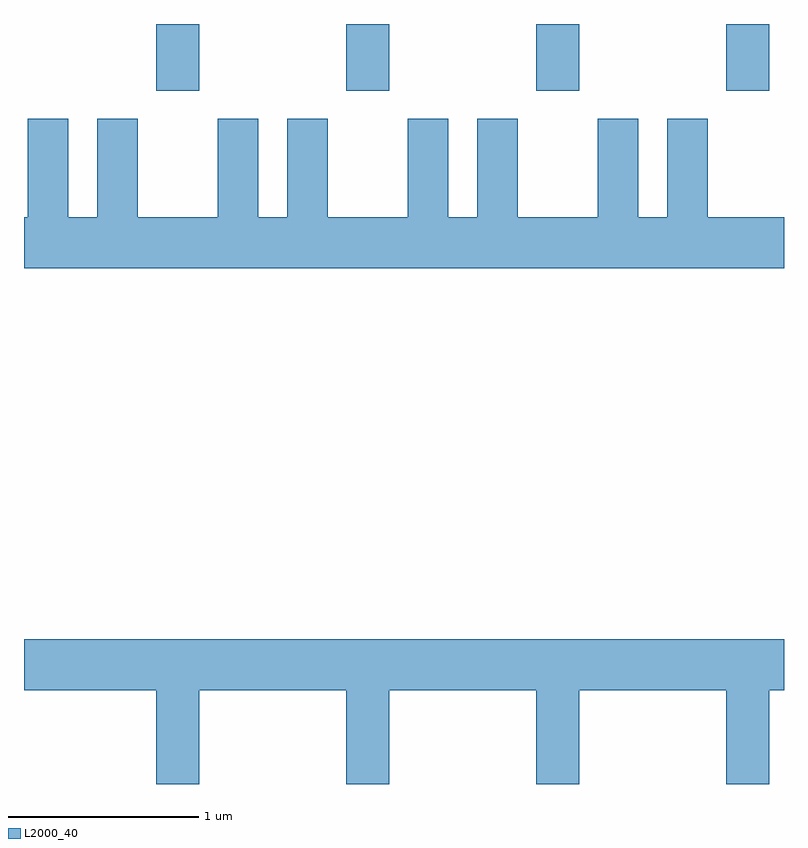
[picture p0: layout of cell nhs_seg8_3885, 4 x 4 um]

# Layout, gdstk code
import gdstk
lib = gdstk.Library(unit=1e-6, precision=1e-09)
def R(c, l, rs):  # rectangles x0, y0, x1, y1
    for r in rs: c.add(gdstk.rectangle(r[:2], r[2:], *l))
def A(c, l, x, y, w, h, nx, ny, dx, dy):  # array of equal rectangles
    R(c, l, [(x+i*dx, y+j*dy, x+i*dx+w, y+j*dy+h) for i in range(nx) for j in range(ny)])
def P(c, l, *ps):  # polygons
    for p in ps: c.add(gdstk.Polygon(p, *l))
L2000_40 = (2000, 40)

nhs_seg8_3885 = lib.new_cell('nhs_seg8_3885')
A(nhs_seg8_3885, L2000_40, 302.306, 1863.991, 0.228, 0.351, 4, 1, 1, 0)
P(nhs_seg8_3885, L2000_40, [(305.611,1863.324),(305.209,1863.324),(305.209,1863.844),(304.996,1863.844),(304.996,1863.324),(304.844,1863.324),(304.844,1863.844),(304.631,1863.844),(304.631,1863.324),(304.209,1863.324),(304.209,1863.844),(303.996,1863.844),(303.996,1863.324),(303.844,1863.324),(303.844,1863.844),(303.631,1863.844),(303.631,1863.324),(303.209,1863.324),(303.209,1863.844),(302.996,1863.844),(302.996,1863.324),(302.844,1863.324),(302.844,1863.844),(302.631,1863.844),(302.631,1863.324),(302.209,1863.324),(302.209,1863.844),(301.996,1863.844),(301.996,1863.324),(301.844,1863.324),(301.844,1863.844),(301.631,1863.844),(301.631,1863.324),(301.611,1863.324),(301.611,1863.056),(305.611,1863.056)],
  [(302.534,1860.836),(303.306,1860.836),(303.306,1860.342),(303.534,1860.342),(303.534,1860.836),(304.306,1860.836),(304.306,1860.342),(304.534,1860.342),(304.534,1860.836),(305.306,1860.836),(305.306,1860.342),(305.534,1860.342),(305.534,1860.836),(305.611,1860.836),(305.611,1861.104),(301.611,1861.104),(301.611,1860.836),(302.306,1860.836),(302.306,1860.342),(302.534,1860.342)])

lib.write_gds('nhs_seg8_3885.gds')
